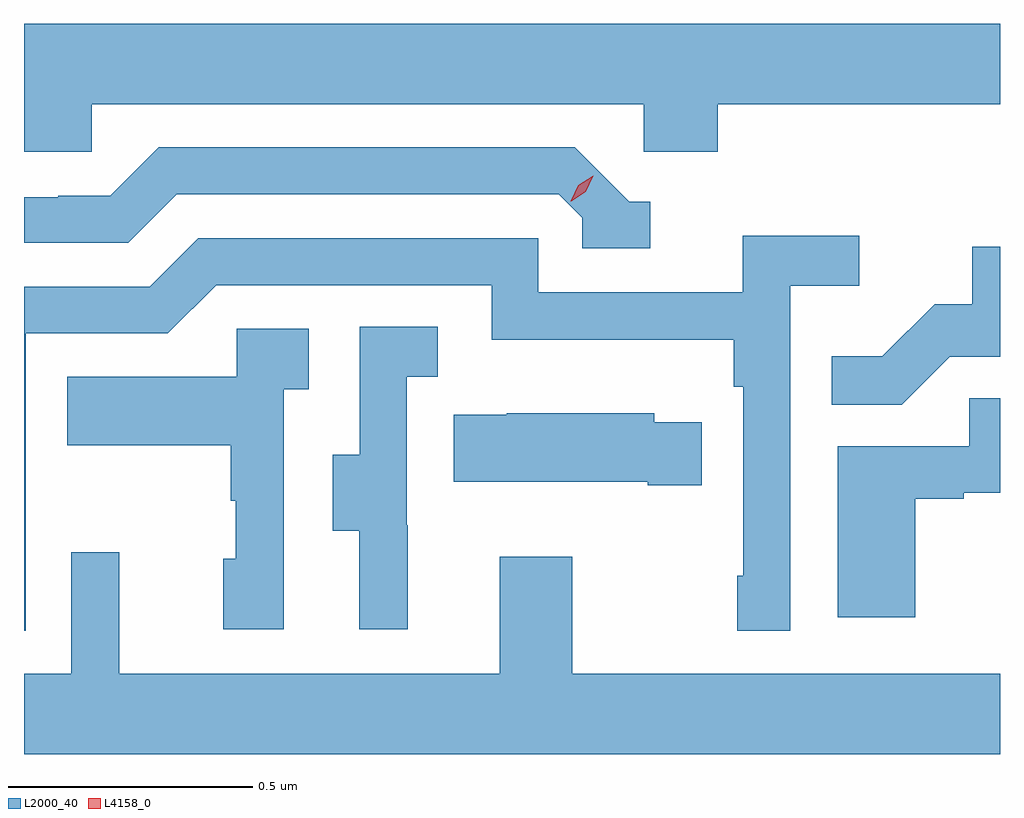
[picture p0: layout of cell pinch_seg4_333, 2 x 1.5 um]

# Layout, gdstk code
import gdstk
lib = gdstk.Library(unit=1e-6, precision=1e-09)
def P(c, l, *ps):  # polygons
    for p in ps: c.add(gdstk.Polygon(p, *l))
L2000_40 = (2000, 40)
L4158_0 = (4158, 0)

pinch_seg4_333 = lib.new_cell('pinch_seg4_333')
P(pinch_seg4_333, L2000_40, [(916.395,794.156),(917.526,794.156),(917.526,794.058),(917.678,794.058),(917.678,794.156),(918.256,794.156),(918.256,794.32),(916.256,794.32),(916.256,794.058),(916.395,794.058)],
  [(917.539,793.956),(917.496,793.956),(917.385,794.067),(916.532,794.067),(916.433,793.968),(916.326,793.968),(916.326,793.965),(916.256,793.965),(916.256,793.872),(916.47,793.872),(916.569,793.971),(917.352,793.971),(917.4,793.923),(917.4,793.86),(917.539,793.86)],
  [(916.26,793.686),(916.551,793.686),(916.65,793.785),(917.214,793.785),(917.214,793.673),(917.71,793.673),(917.71,793.577),(917.73,793.577),(917.73,793.189),(917.718,793.189),(917.718,793.077),(917.826,793.077),(917.826,793.784),(917.968,793.784),(917.968,793.886),(917.729,793.886),(917.729,793.77),(917.31,793.77),(917.31,793.881),(916.613,793.881),(916.514,793.782),(916.256,793.782),(916.256,793.077),(916.26,793.077)],
  [(918.153,793.638),(918.256,793.638),(918.256,793.863),(918.199,793.863),(918.199,793.746),(918.122,793.746),(918.015,793.639),(917.911,793.639),(917.911,793.54),(918.055,793.54)],
  [(917.042,793.293),(917.04,793.293),(917.04,793.597),(917.104,793.597),(917.104,793.7),(916.944,793.7),(916.944,793.437),(916.889,793.437),(916.889,793.282),(916.943,793.282),(916.943,793.08),(917.042,793.08)],
  [(916.788,793.571),(916.84,793.571),(916.84,793.695),(916.692,793.695),(916.692,793.597),(916.345,793.597),(916.345,793.457),(916.68,793.457),(916.68,793.343),(916.69,793.343),(916.69,793.224),(916.664,793.224),(916.664,793.08),(916.788,793.08)],
  [(918.082,793.347),(918.182,793.347),(918.182,793.359),(918.256,793.359),(918.256,793.553),(918.193,793.553),(918.193,793.455),(917.924,793.455),(917.924,793.104),(918.082,793.104)],
  [(917.645,793.504),(917.547,793.504),(917.547,793.522),(917.245,793.522),(917.245,793.519),(917.137,793.519),(917.137,793.382),(917.534,793.382),(917.534,793.375),(917.645,793.375)],
  [(918.256,792.988),(917.379,792.988),(917.379,793.228),(917.231,793.228),(917.231,792.988),(916.451,792.988),(916.451,793.237),(916.353,793.237),(916.353,792.988),(916.256,792.988),(916.256,792.824),(918.256,792.824)])
P(pinch_seg4_333, L4158_0, [(917.376,793.957),(917.376,793.957),(917.392,793.99),(917.422,794.009),(917.423,794.009),(917.423,794.009),(917.407,793.976),(917.377,793.957)])

lib.write_gds('pinch_seg4_333.gds')
